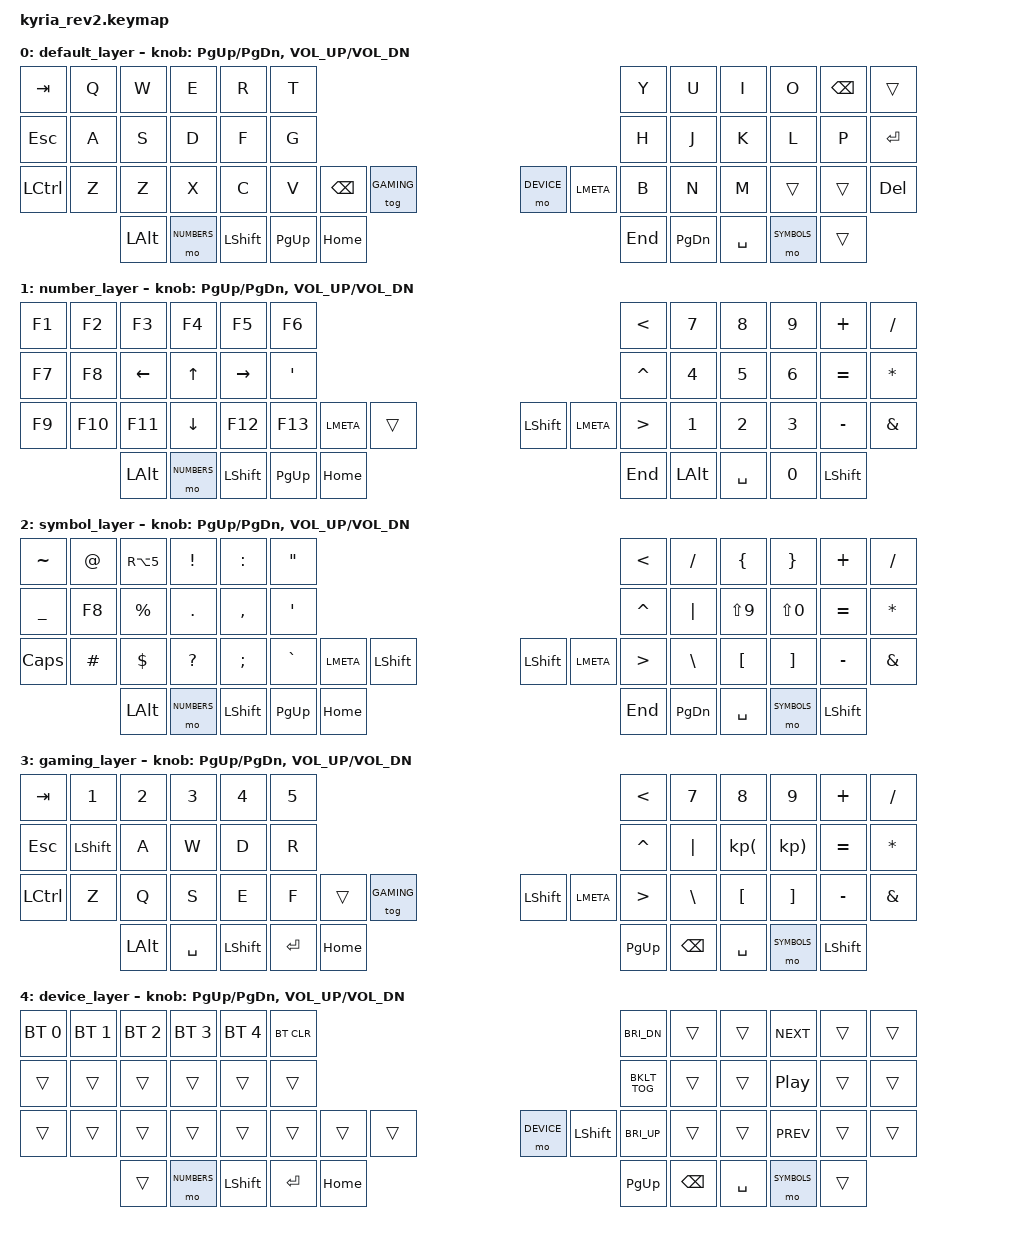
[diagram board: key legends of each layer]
/*
 * Copyright (c) 2020 The ZMK Contributors
 *
 * SPDX-License-Identifier: MIT
 */

#include <behaviors.dtsi>
#include <dt-bindings/zmk/keys.h>
#include <dt-bindings/zmk/bt.h>

#define DEFAULT 0
#define NUMBERS 1
#define SYMBOLS 2
#define GAMING  3
#define DEVICE  4

/ {
	keymap {
		compatible = "zmk,keymap";

		default_layer {
			bindings = <
	&kp TAB   &kp Q &kp W &kp E &kp R &kp T                                                &kp Y &kp U  &kp I &kp O &kp BSPC &trans
	&kp ESC   &kp A &kp S &kp D &kp F &kp G                                                &kp H &kp J  &kp K &kp L &kp P  &kp RET
	&kp LCTRL &kp Z &kp Z &kp X &kp C &kp V  &kp BSPC &tog GAMING       &mo DEVICE &kp LMETA &kp B &kp N &kp M &trans &trans &kp DEL
	                &kp LALT &mo NUMBERS &kp LSHFT &kp PG_UP &kp HOME    &kp END    &kp PG_DN &kp SPACE &mo SYMBOLS &trans
			>;

			sensor-bindings = <&inc_dec_kp PG_UP PG_DN &inc_dec_kp C_VOL_UP C_VOL_DN>; 
	};

		number_layer {
			bindings = <
	&kp F1 &kp F2  &kp F3   &kp F4   &kp F5    &kp F6                                             &kp LT    &kp N7 &kp N8 &kp N9 &kp PLUS  &kp FSLH
	&kp F7 &kp F8  &kp LEFT &kp UP   &kp RIGHT &kp APOS                                           &kp CARET &kp N4 &kp N5 &kp N6 &kp EQUAL &kp ASTERISK
	&kp F9 &kp F10 &kp F11  &kp DOWN &kp F12   &kp F13 &kp LMETA &trans        &kp LSHFT &kp LMETA &kp GT    &kp N1 &kp N2 &kp N3 &kp MINUS &kp AMPS
	               &kp LALT &mo NUMBERS &kp LSHFT &kp PG_UP &kp HOME           &kp END   &kp LALT  &kp SPACE &kp N0 &kp LSHFT
			>;

			sensor-bindings = <&inc_dec_kp PG_UP PG_DN &inc_dec_kp C_VOL_UP C_VOL_DN>; 
		};
		
			symbol_layer {
			bindings = <
	&kp TILDE &kp AT   &kp RA(N5) &kp EXCL  &kp COLON &kp DQT                                             &kp LT    &kp FSLH &kp LBRC    &kp RBRC    &kp PLUS  &kp FSLH
	&kp UNDER &kp F8   &kp PRCNT  &kp DOT   &kp COMMA &kp APOS                                            &kp CARET &kp PIPE &kp LS(N9) &kp LS(N0) &kp EQUAL &kp ASTERISK
	&kp CAPS  &kp HASH &kp DLLR   &kp QMARK &kp SEMI  &kp GRAVE &kp LMETA &kp LSHFT   &kp LSHFT &kp LMETA  &kp GT    &kp BSLH &kp LBKT    &kp RBKT    &kp MINUS &kp AMPS
	                              &kp LALT &mo NUMBERS &kp LSHFT &kp PG_UP &kp HOME   &kp END   &kp PG_DN  &kp SPACE &mo SYMBOLS &kp LSHFT
			>;

			sensor-bindings = <&inc_dec_kp PG_UP PG_DN &inc_dec_kp C_VOL_UP C_VOL_DN>; 
		};
			gaming_layer {
			bindings = <
	&kp TAB   &kp N1    &kp N2  &kp N3 &kp N4 &kp N5                                                        &kp LT    &kp N7   &kp N8      &kp N9      &kp PLUS  &kp FSLH
	&kp ESC   &kp LSHFT &kp A   &kp W  &kp D  &kp R                                                         &kp CARET &kp PIPE &kp KP_LPAR &kp KP_RPAR &kp EQUAL &kp ASTERISK
	&kp LCTRL &kp Z     &kp Q   &kp S  &kp E  &kp F   &trans  &tog GAMING               &kp LSHFT &kp LMETA &kp GT    &kp BSLH &kp LBKT    &kp RBKT    &kp MINUS &kp AMPS
	                            &kp LALT &kp SPACE   &kp LSHFT &kp RET &kp HOME      &kp PG_UP &kp BSPC  &kp SPACE &mo SYMBOLS &kp LSHFT
			>;

			sensor-bindings = <&inc_dec_kp PG_UP PG_DN &inc_dec_kp C_VOL_UP C_VOL_DN>; 
		};
			device_layer {
			bindings = <
	&bt BT_SEL 0 &bt BT_SEL 1 &bt BT_SEL 2 &bt BT_SEL 3 &bt BT_SEL 4 &bt BT_CLR                                             &kp C_BRI_DN &trans &trans &kp C_NEXT &trans &trans
	&trans       &trans       &trans       &trans       &trans       &trans                                                 &kp C_BKLT_TOG &trans &trans &kp C_PP &trans &trans
	&trans       &trans       &trans       &trans       &trans       &trans     &trans   &trans        &mo DEVICE &kp LSHFT &kp C_BRI_UP &trans &trans &kp C_PREV &trans &trans
	                                       &trans       &mo NUMBERS  &kp LSHFT  &kp RET  &kp HOME      &kp PG_UP  &kp BSPC  &kp SPACE &mo SYMBOLS &trans
			>;

			sensor-bindings = <&inc_dec_kp PG_UP PG_DN &inc_dec_kp C_VOL_UP C_VOL_DN>; 
		};
	};
};
